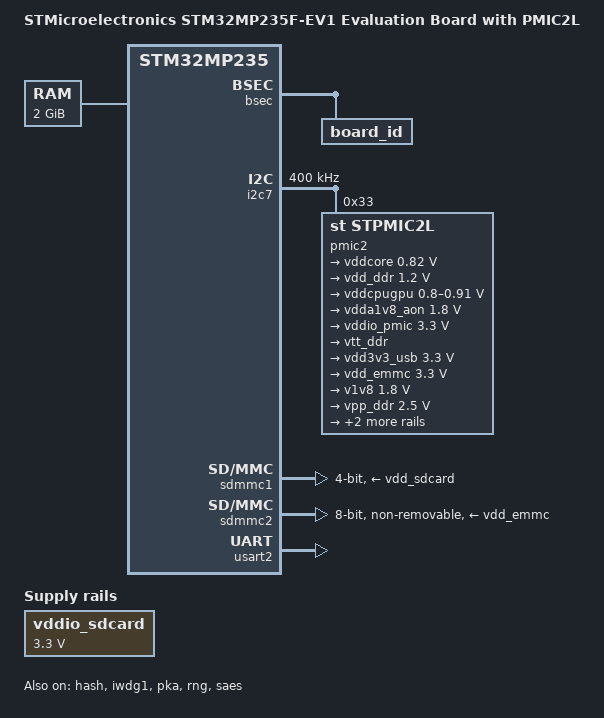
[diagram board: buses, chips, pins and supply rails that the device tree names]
// SPDX-License-Identifier: (GPL-2.0-or-later OR BSD-3-Clause)
/*
 * Copyright (C) 2026, STMicroelectronics - All Rights Reserved
 */

/dts-v1/;

#include <dt-bindings/clock/stm32mp25-clksrc.h>
#include "stm32mp235.dtsi"
#include "stm32mp23xf.dtsi"
#include "stm32mp257f-ev1-ca35tdcid-rcc.dtsi"
#include "stm32mp25-ddr4-1x16Gbits-1x16bits-1200MHz.dtsi"
#include "stm32mp25-pinctrl.dtsi"
#include "stm32mp25xxak-pinctrl.dtsi"

/ {
	model = "STMicroelectronics STM32MP235F-EV1 Evaluation Board with PMIC2L";
	compatible = "st,stm32mp235f-ev1-stpmic2l-ca35tdcid-ostl", "st,stm32mp235f-ev1-stpmic2l", "st,stm32mp235";

	aliases {
		serial0 = &usart2;
	};

	chosen {
		stdout-path = "serial0:115200n8";
	};

	memory@80000000 {
		device_type = "memory";
		reg = <0x0 0x80000000 0x0 0x80000000>;
	};

	shadow-prov {
		compatible = "st,provisioning";

		hconf1_prov {
			nvmem-cells = <&hconf1_otp>;
			st,shadow-value = <0x00018000>;
		};
	};

	vddio_sdcard: vddio-sdcard {
		/* PI15 = volt selection */
		/* supplied by vdd_sdcard */
		compatible = "regulator-fixed";
		regulator-name = "vddio_sdcard";
		regulator-min-microvolt = <3300000>;
		regulator-max-microvolt = <3300000>;
	};
};

&bsec {
	board_id: board_id@3d8 {
		reg = <0x3d8 0x4>;
	};
};

&ddr {
	vdd-supply = <&vdd_ddr>;
	vtt-supply = <&vtt_ddr>;
	vpp-supply = <&vpp_ddr>;
};

&hash {
	status = "okay";
};

&i2c7 {
	pinctrl-names = "default";
	pinctrl-0 = <&i2c7_pins_a>;
	i2c-scl-rising-time-ns = <185>;
	i2c-scl-falling-time-ns = <20>;
	clock-frequency = <400000>;
	status = "okay";
	#address-cells = <1>;
	#size-cells = <0>;

	pmic2: stpmic@33 {
		compatible = "st,stpmic2l";
		reg = <0x33>;
		status = "okay";

		regulators {
			compatible = "st,stpmic2-regulators";

			vddcore: buck1 {
				regulator-name = "vddcore";
				regulator-min-microvolt = <820000>;
				regulator-max-microvolt = <820000>;
				regulator-always-on;
			};
			vdd_ddr: buck2 {
				regulator-name = "vdd_ddr";
				regulator-min-microvolt = <1200000>;
				regulator-max-microvolt = <1200000>;
			};
			vddcpugpu: buck3 {
				regulator-name = "vddcpugpu";
				regulator-min-microvolt = <800000>;
				regulator-max-microvolt = <910000>;
				regulator-always-on;
			};
			vdda1v8_aon: ldo1 {
				regulator-name = "vdda1v8_aon";
				regulator-min-microvolt = <1800000>;
				regulator-max-microvolt = <1800000>;
				regulator-always-on;
			};
			vddio_pmic: ldo2 {
				regulator-name = "vddio_pmic";
				regulator-min-microvolt = <3300000>;
				regulator-max-microvolt = <3300000>;
				regulator-always-on;
			};
			vtt_ddr: ldo3 {
				regulator-name = "vtt_ddr";
				st,regulator-sink-source;
			};
			vdd3v3_usb: ldo4 {
				regulator-name = "vdd3v3_usb";
				regulator-min-microvolt = <3300000>;
				regulator-max-microvolt = <3300000>;
				regulator-always-on;
			};
			vdd_emmc: ldo5 {
				regulator-name = "vdd_emmc";
				regulator-min-microvolt = <3300000>;
				regulator-max-microvolt = <3300000>;
				regulator-always-on;
			};
			v1v8: ldo6 {
				regulator-name = "v1v8";
				regulator-min-microvolt = <1800000>;
				regulator-max-microvolt = <1800000>;
				regulator-always-on;
			};
			vpp_ddr: ldo7 {
				regulator-name = "vpp_ddr";
				regulator-min-microvolt = <2500000>;
				regulator-max-microvolt = <2500000>;
			};
			vdd_sdcard: gpo4 {
				regulator-name = "vdd_sdcard";
				regulator-min-microvolt = <3300000>;
				regulator-max-microvolt = <3300000>;
				regulator-always-on;
			};
			v3v3: gpo5 {
				regulator-name = "v3v3";
				regulator-min-microvolt = <3300000>;
				regulator-max-microvolt = <3300000>;
				regulator-always-on;
			};
		};
	};
};

&iwdg1 {
	timeout-sec = <32>;
	status = "okay";
};

&pwr {
	vddio1: vddio1 {
		vddio1-supply = <&vddio_sdcard>;
	};
	vddio2: vddio2 {
		vddio2-supply = <&v1v8>;
	};
	vddio3: vddio3 {
		vddio3-supply = <&vddio_pmic>;
	};
	vddio4: vddio4 {
		vddio4-supply = <&vddio_pmic>;
	};
	vddio: vddio {
		vdd-supply = <&vddio_pmic>;
	};
};

&pka {
	status = "okay";
};

&rng {
	status = "okay";
};

&saes {
	status = "okay";
};

&sdmmc1 {
	pinctrl-names = "default";
	pinctrl-0 = <&sdmmc1_b4_pins_a>;
	st,neg-edge;
	bus-width = <4>;
	vmmc-supply = <&vdd_sdcard>;
	vqmmc-supply = <&vddio1>;
	status = "okay";
};

&sdmmc2 {
	pinctrl-names = "default";
	pinctrl-0 = <&sdmmc2_b4_pins_a &sdmmc2_d47_pins_a>;
	non-removable;
	no-sd;
	no-sdio;
	st,neg-edge;
	bus-width = <8>;
	vmmc-supply = <&vdd_emmc>;
	vqmmc-supply = <&vddio2>;
	status = "okay";
};

&usart2 {
	pinctrl-names = "default";
	pinctrl-0 = <&usart2_pins_a>;
	status = "okay";
};
